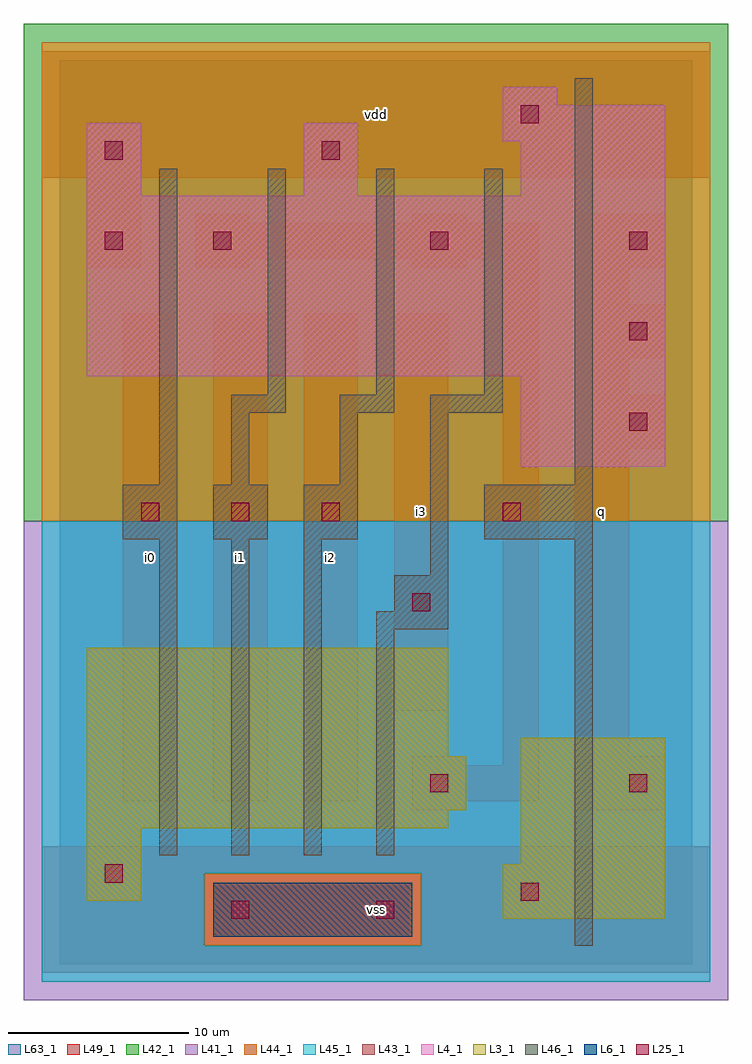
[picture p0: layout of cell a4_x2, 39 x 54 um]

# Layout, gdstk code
import gdstk
lib = gdstk.Library(unit=1e-6, precision=1e-09)
def R(c, l, rs):  # rectangles x0, y0, x1, y1
    for r in rs: c.add(gdstk.rectangle(r[:2], r[2:], *l))
def A(c, l, x, y, w, h, nx, ny, dx, dy):  # array of equal rectangles
    R(c, l, [(x+i*dx, y+j*dy, x+i*dx+w, y+j*dy+h) for i in range(nx) for j in range(ny)])
L3_1 = (3, 1)
L4_1 = (4, 1)
L6_1 = (6, 1)
L25_1 = (25, 1)
L41_1 = (41, 1)
L42_1 = (42, 1)
L43_1 = (43, 1)
L44_1 = (44, 1)
L45_1 = (45, 1)
L46_1 = (46, 1)
L49_1 = (49, 1)
L63_1 = (63, 1)

a4_x2 = lib.new_cell('a4_x2')
R(a4_x2, L3_1, [(24.5,2.5,33.5,5.5), (1.5,3.5,4.5,7.5), (25.5,5.5,33.5,12.5), (1.5,7.5,21.5,8.5), (1.5,8.5,22.5,11.5), (1.5,11.5,21.5,17.5)])
R(a4_x2, L4_1, [(25.5,27.5,33.5,32.5), (1.5,32.5,33.5,42.5), (1.5,42.5,4.5,46.5), (13.5,42.5,16.5,46.5), (25.5,42.5,33.5,45.5), (24.5,45.5,33.5,47.5), (24.5,47.5,27.5,48.5)])
R(a4_x2, L6_1, [(8.5,1.5,19.5,4.5)])
A(a4_x2, L25_1, 4.5, 24.5, 1, 1, 3, 1, 5, 0)
A(a4_x2, L25_1, 31.5, 29.5, 1, 1, 1, 3, 0, 5)
R(a4_x2, L25_1, [(9.5,2.5,10.5,3.5), (17.5,2.5,18.5,3.5), (25.5,3.5,26.5,4.5), (2.5,4.5,3.5,5.5), (20.5,9.5,21.5,10.5), (31.5,9.5,32.5,10.5), (19.5,19.5,20.5,20.5), (24.5,24.5,25.5,25.5), (2.5,39.5,3.5,40.5), (8.5,39.5,9.5,40.5), (20.5,39.5,21.5,40.5), (2.5,44.5,3.5,45.5), (14.5,44.5,15.5,45.5), (25.5,46.5,26.5,47.5)])
R(a4_x2, L41_1, [(-2,-2,37,24.5)])
R(a4_x2, L42_1, [(-2,24.5,37,52)])
R(a4_x2, L43_1, [(8.5,1.5,19.5,4.5), (24.5,2.5,33.5,5.5), (1.5,3.5,4.5,7.5), (25.5,5.5,33.5,12.5), (1.5,7.5,21.5,8.5), (1.5,8.5,22.5,11.5), (1.5,11.5,21.5,17.5), (25.5,27.5,33.5,32.5), (1.5,32.5,33.5,42.5), (1.5,42.5,4.5,46.5), (13.5,42.5,16.5,46.5), (25.5,42.5,33.5,45.5), (24.5,45.5,33.5,47.5), (24.5,47.5,27.5,48.5)])
R(a4_x2, L44_1, [(8,1,20,5), (-1,24.5,36,51)])
R(a4_x2, L45_1, [(-1,-1,36,1), (-1,1,8,5), (20,1,36,5), (-1,5,36,24.5)])
A(a4_x2, L46_1, 5.5, 6, 1, 17.5, 3, 1, 4, 0)
A(a4_x2, L46_1, 3.5, 23.5, 3, 3, 3, 1, 5, 0)
A(a4_x2, L46_1, 11.5, 31.5, 1, 12.5, 3, 1, 6, 0)
R(a4_x2, L46_1, [(28.5,1,29.5,23.5), (17.5,6,18.5,18.5), (17.5,18.5,21.5,19.5), (18.5,19.5,21.5,21.5), (20.5,21.5,21.5,30.5), (23.5,23.5,29.5,26.5), (5.5,26.5,6.5,44), (9.5,26.5,10.5,30.5), (15.5,26.5,16.5,30.5), (28.5,26.5,29.5,49), (9.5,30.5,12.5,31.5), (15.5,30.5,18.5,31.5), (20.5,30.5,24.5,31.5)])
A(a4_x2, L49_1, 3.5, 9, 3, 27, 3, 1, 5, 0)
A(a4_x2, L49_1, 28.5, 28.5, 5, 3, 1, 3, 0, 5)
R(a4_x2, L49_1, [(-1,-0.5,36,6.5), (19.5,8.5,22.5,9), (28.5,8.5,33.5,11.5), (19.5,9,26.5,11), (19.5,11,22.5,11.5), (24.5,11,26.5,23.5), (28.5,11.5,31.5,28.5), (18.5,14,21.5,36), (23.5,23.5,26.5,26.5), (24.5,26.5,26.5,39), (28.5,31.5,31.5,33.5), (28.5,36.5,31.5,38.5), (1.5,38.5,4.5,43.5), (7.5,38.5,10.5,39), (19.5,38.5,22.5,39), (7.5,39,26.5,41), (7.5,41,10.5,41.5), (19.5,41,22.5,41.5), (-1,43.5,36,50.5)])
R(a4_x2, L63_1, [(0,0,35,50)])
a4_x2.add(gdstk.Label('i0', (5,22.5), layer=49, texttype=1))
a4_x2.add(gdstk.Label('i0', (5,22.5), layer=49, texttype=1))
a4_x2.add(gdstk.Label('i2', (15,22.5), layer=49, texttype=1))
a4_x2.add(gdstk.Label('i1', (10,22.5), layer=49, texttype=1))
a4_x2.add(gdstk.Label('i2', (15,22.5), layer=49, texttype=1))
a4_x2.add(gdstk.Label('i1', (10,22.5), layer=49, texttype=1))
a4_x2.add(gdstk.Label('vss', (17.5,3), layer=49, texttype=1))
a4_x2.add(gdstk.Label('vss', (17.5,3), layer=49, texttype=1))
a4_x2.add(gdstk.Label('i3', (20,25), layer=49, texttype=1))
a4_x2.add(gdstk.Label('i3', (20,25), layer=49, texttype=1))
a4_x2.add(gdstk.Label('vdd', (17.5,47), layer=49, texttype=1))
a4_x2.add(gdstk.Label('vdd', (17.5,47), layer=49, texttype=1))
a4_x2.add(gdstk.Label('q', (30,25), layer=49, texttype=1))
a4_x2.add(gdstk.Label('q', (30,25), layer=49, texttype=1))

lib.write_gds('a4_x2.gds')
